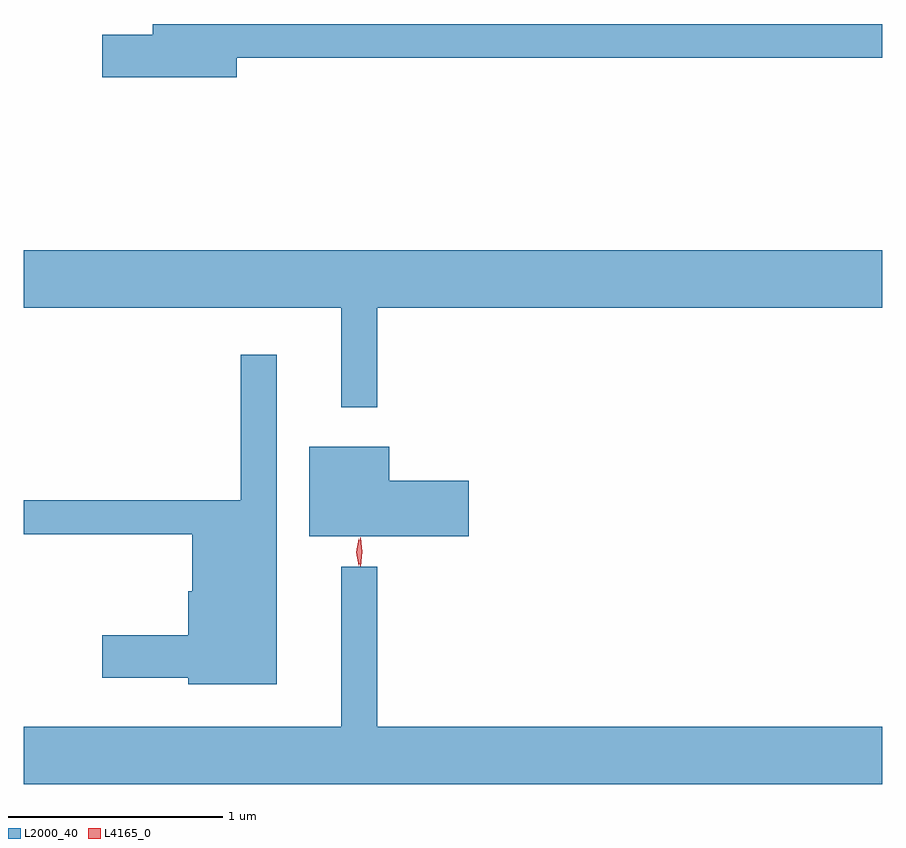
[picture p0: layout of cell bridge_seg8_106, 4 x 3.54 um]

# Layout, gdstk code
import gdstk
lib = gdstk.Library(unit=1e-6, precision=1e-09)
def P(c, l, *ps):  # polygons
    for p in ps: c.add(gdstk.Polygon(p, *l))
L2000_40 = (2000, 40)
L4165_0 = (4165, 0)

bridge_seg8_106 = lib.new_cell('bridge_seg8_106')
P(bridge_seg8_106, L2000_40, [(1529.764,1810.941),(1532.771,1810.941),(1532.771,1811.099),(1529.371,1811.099),(1529.371,1811.049),(1529.136,1811.049),(1529.136,1810.851),(1529.764,1810.851)],
  [(1530.419,1809.776),(1532.771,1809.776),(1532.771,1810.044),(1528.771,1810.044),(1528.771,1809.776),(1530.251,1809.776),(1530.251,1809.313),(1530.419,1809.313)],
  [(1529.949,1809.558),(1529.781,1809.558),(1529.781,1808.879),(1528.771,1808.879),(1528.771,1808.721),(1529.556,1808.721),(1529.556,1808.454),(1529.536,1808.454),(1529.536,1808.249),(1529.136,1808.249),(1529.136,1808.051),(1529.536,1808.051),(1529.536,1808.021),(1529.949,1808.021)],
  [(1530.844,1808.969),(1530.474,1808.969),(1530.474,1809.129),(1530.101,1809.129),(1530.101,1808.711),(1530.844,1808.711)],
  [(1532.771,1807.824),(1530.419,1807.824),(1530.419,1808.568),(1530.251,1808.568),(1530.251,1807.824),(1528.771,1807.824),(1528.771,1807.556),(1532.771,1807.556)])
P(bridge_seg8_106, L4165_0, [(1530.339,1808.57),(1530.339,1808.57),(1530.329,1808.638),(1530.339,1808.705),(1530.339,1808.706),(1530.34,1808.705),(1530.349,1808.638),(1530.34,1808.57)],
  [(1530.331,1808.573),(1530.321,1808.636),(1530.331,1808.699),(1530.331,1808.7),(1530.332,1808.699),(1530.341,1808.636),(1530.332,1808.573),(1530.332,1808.573)])

lib.write_gds('bridge_seg8_106.gds')
